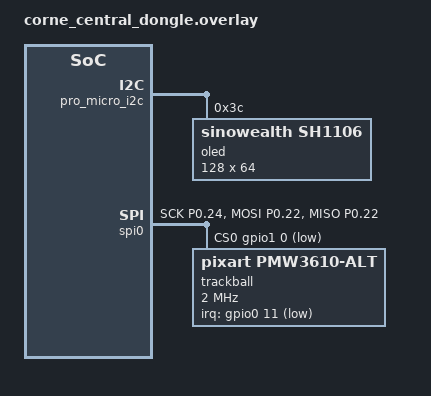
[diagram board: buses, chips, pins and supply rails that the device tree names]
/*
 * Copyright (c) 2020 Derek Schmell
 *
 * SPDX-License-Identifier: MIT
 */

#include "corne.dtsi"

/ {
    chosen {
        zmk,kscan = &mock_kscan;
        zephyr,display = &oled;
    };

    mock_kscan: kscan_0 {
        compatible = "zmk,kscan-mock";
        columns = <0>;
        rows = <0>;
        events = <0>;
    };
};

&pro_micro_i2c {
    status = "okay";

    oled: sh1106@3c {
        compatible = "sinowealth,sh1106";
        reg = <0x3c>;
        width = <128>;
        height = <64>;
        segment-offset = <2>;
        page-offset = <0>;
        display-offset = <0>;
        multiplex-ratio = <63>;
        segment-remap;
        com-invdir;
        inversion-on;
        prechargep = <0x22>;
    };
};

&pinctrl {
    spi0_default: spi0_default {
        group1 {
            psels = <NRF_PSEL(SPIM_SCK, 0, 24)>,
                <NRF_PSEL(SPIM_MOSI, 0, 22)>,
                <NRF_PSEL(SPIM_MISO, 0, 22)>;
        };
    };

    spi0_sleep: spi0_sleep {
        group1 {
            psels = <NRF_PSEL(SPIM_SCK, 0, 24)>,
                <NRF_PSEL(SPIM_MOSI, 0, 22)>,
                <NRF_PSEL(SPIM_MISO, 0, 22)>;
            low-power-enable;
        };
    };
};

#include <zephyr/dt-bindings/input/input-event-codes.h>

&spi0 {
    status = "okay";
    compatible = "nordic,nrf-spim";
    pinctrl-0 = <&spi0_default>;
    pinctrl-1 = <&spi0_sleep>;
    pinctrl-names = "default", "sleep";
    cs-gpios = <&gpio1 0 GPIO_ACTIVE_LOW>;

    trackball: trackball@0 {
        status = "okay";
        compatible = "pixart,pmw3610-alt";
        reg = <0>;
        spi-max-frequency = <2000000>;
        irq-gpios = <&gpio0 11 (GPIO_ACTIVE_LOW | GPIO_PULL_UP)>;
        cpi = <600>;
        // swap-xy; /* optional */
        // invert-x; /* optional */
        // invert-y; /* optional */
        evt-type = <INPUT_EV_REL>;
        x-input-code = <INPUT_REL_X>;
        y-input-code = <INPUT_REL_Y>;

        force-awake;
        /* keep the sensor awake while ZMK activity state is ACTIVE,
           fallback to normal downshift mode after ZMK goes into IDLE / SLEEP mode.
           thus, the sensor would be a `wakeup-source` */

        force-awake-4ms-mode;
        /* while force-awake is acitvated, enable this mode to force sampling per 
           4ms, where the default sampling rate is 8ms. */
        /* NOTE: apply this mode if you need 250Hz with direct USB connection. */
    };
};

/ {
  trackball_listener {
    compatible = "zmk,input-listener";
    device = <&trackball>;
  };
};
